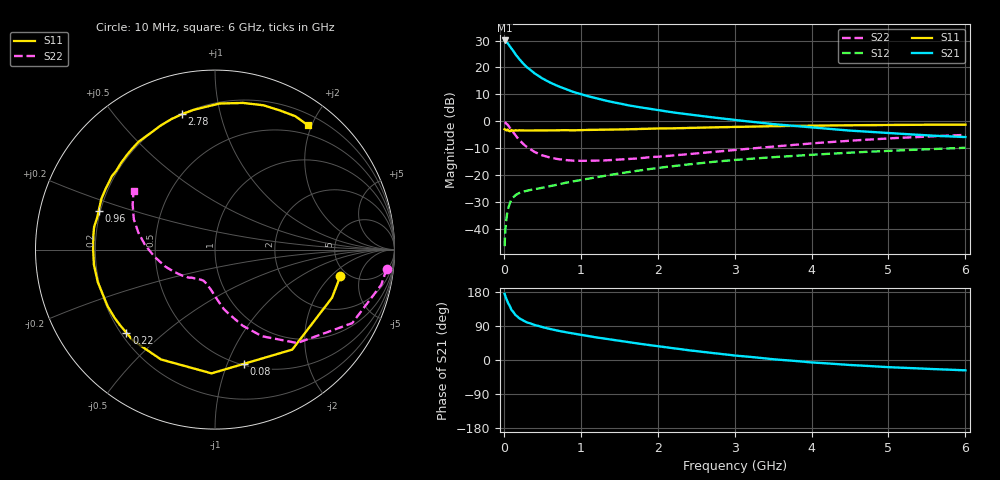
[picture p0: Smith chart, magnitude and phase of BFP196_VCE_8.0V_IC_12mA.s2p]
! Infineon Technologies  Discrete & RF Semiconductors
! BFP196
! VCE = 8.0 V,  IC =  12mA
! Common Emitter S-Parameters:  Jan 2016
# GHz  S  MA  R  50
!  f  S11  S21  S12  S22
! GHz  MAG  ANG  MAG  ANG  MAG  ANG  MAG  ANG
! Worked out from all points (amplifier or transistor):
!   210 points, 10 MHz to 6 GHz, reference 50 ohm
!   highest |S21| = 30.0 dB at 10 MHz (marker M1)
!   |S21| within 3 dB of that: start of sweep to 101.8 MHz
!   unconditionally stable (mu >= 1): 863.3 MHz to 3.486 GHz; 3.576 GHz to 3.711 GHz
!   at 185 MHz: K = 0.33, MSG = 25.3 dB, |S12| = -26.9 dB
!   at 1.52 GHz: K = 1.14, MAG = 10.7 dB, |S12| = -19.3 dB
!   at 6 GHz: K = 0.96, MSG = 2.0 dB, |S12| = -9.8 dB
!   S11 on the Smith chart (normalised r, x): 10 MHz: 4.38, -2.61; 80 MHz: 0.51, -1.15; 220 MHz: 0.22, -0.38; 960 MHz: 0.19, +0.16; 2.78 GHz: 0.20, +0.76; 6 GHz: 0.35, +1.94
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0.01  0.7139 -11.8  31.78 174.5  0.0048 83.2  0.9627 -6.3
0.02  0.7052 -22.3  30.79 167.7  0.0096 76.6  0.9466 -12.0
0.05  0.7041 -52.3  28.27 152.1  0.0227 65.6  0.8674 -28.2
0.08  0.6565 -75.8  24.55 141.2  0.0305 55.0  0.7506 -39.4
0.1  0.6898 -91.6  22.69 132.1  0.036 50.5  0.6929 -48.7
0.15  0.6821 -116.2  17.7 118.9  0.0425 42.6  0.5494 -61.5
0.2  0.6821 -132.1  14.37 110.2  0.0466 38.0  0.4513 -70.0
0.22  0.6769 -136.8  13.34 107.9  0.0477 37.0  0.4221 -72.3
0.26  0.6764 -145.6  11.49 103.0  0.0498 35.5  0.3704 -77.4
0.3  0.6764 -152.1  10.1 99.2  0.0514 35.3  0.3335 -81.7
0.4  0.6776 -164.4  7.77 92.3  0.0551 35.7  0.2698 -88.6
0.5  0.6798 -172.8  6.261 86.7  0.0582 36.9  0.2333 -94.0
0.7  0.6819 173.9  4.534 77.3  0.0666 40.3  0.1992 -102.8
0.96  0.6834 161.6  3.326 67.9  0.0794 43.1  0.1851 -110.4
1.02  0.6876 158.9  3.136 65.8  0.0823 43.6  0.1847 -112.0
1.4  0.7053 144.6  2.291 53.6  0.1018 45.1  0.1914 -122.0
2.02  0.7365 124.7  1.597 35.9  0.137 43.4  0.2208 -137.5
2.78  0.7761 103.9  1.155 17.0  0.1797 37.2  0.2749 -156.5
3.1  0.7907 96.6  1.024 10.1  0.1962 33.8  0.3023 -164.2
4.1  0.834 77.6  0.749 -7.6  0.2437 23.3  0.3988 174.4
5.1  0.8569 63.8  0.595 -19.7  0.287 12.4  0.4896 157.9
6  0.8651 53.3  0.51 -27.3  0.3226 2.1  0.5602 144.1
